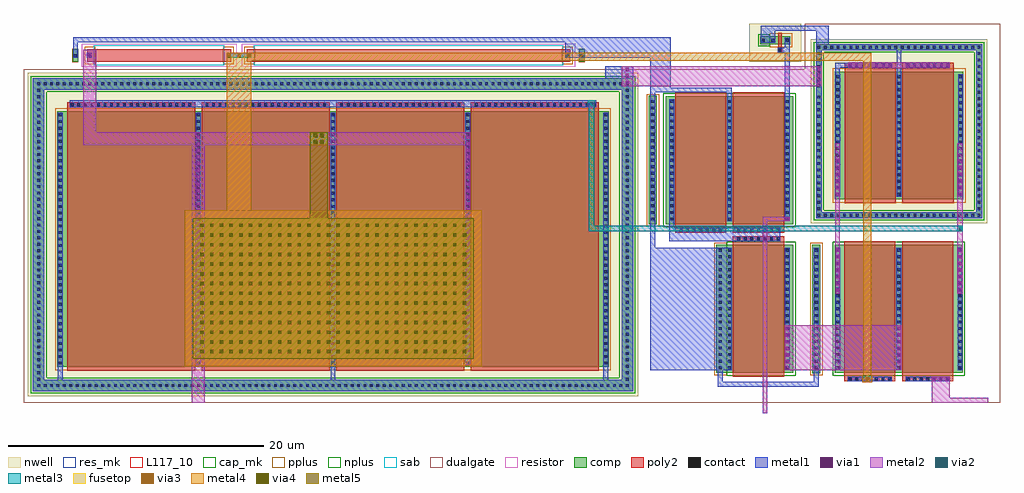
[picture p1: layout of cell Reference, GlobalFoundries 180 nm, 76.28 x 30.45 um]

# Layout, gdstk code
from math import pi, radians
import gdstk
lib = gdstk.Library(unit=1e-6, precision=1e-09)
def R(c, l, rs):  # rectangles x0, y0, x1, y1
    for r in rs: c.add(gdstk.rectangle(r[:2], r[2:], *l))
def A(c, l, x, y, w, h, nx, ny, dx, dy):  # array of equal rectangles
    R(c, l, [(x+i*dx, y+j*dy, x+i*dx+w, y+j*dy+h) for i in range(nx) for j in range(ny)])
def P(c, l, *ps):  # polygons
    for p in ps: c.add(gdstk.Polygon(p, *l))
nwell = (21, 0)
comp = (22, 0)
poly2 = (30, 0)
pplus = (31, 0)
nplus = (32, 0)
contact = (33, 0)
metal1 = (34, 0)
via1 = (35, 0)
metal2 = (36, 0)
via2 = (38, 0)
via3 = (40, 0)
via4 = (41, 0)
metal3 = (42, 0)
metal4 = (46, 0)
sab = (49, 0)
dualgate = (55, 0)
resistor = (62, 0)
fusetop = (75, 0)
metal5 = (81, 0)
res_mk = (110, 5)
cap_mk = (117, 5)
L117_10 = (117, 10)

pfet = lib.new_cell('pfet')
R(pfet, nwell, [(-1.24,-0.91,43.42,21.29)])
R(pfet, comp, [(-0.46,0,42.64,20)])
A(pfet, poly2, 0.31, -0.3, 10, 20.98, 4, 1, 10.52, 0)
R(pfet, pplus, [(-0.63,-0.24,42.81,20.24)])
A(pfet, contact, -0.34, 0.2, 0.22, 0.22, 1, 39, 0, 0.51)
A(pfet, contact, 10.46, 0.2, 0.22, 0.22, 3, 39, 10.52, 0.51)
A(pfet, contact, 42.3, 0.2, 0.22, 0.22, 1, 39, 0, 0.51)
A(pfet, contact, 0.61, 20.38, 0.22, 0.22, 19, 1, 0.51, 0)
A(pfet, contact, 11.13, 20.38, 0.22, 0.22, 19, 1, 0.51, 0)
A(pfet, contact, 21.65, 20.38, 0.22, 0.22, 19, 1, 0.51, 0)
A(pfet, contact, 32.17, 20.38, 0.22, 0.22, 19, 1, 0.51, 0)
A(pfet, metal1, 10.38, 0.12, 0.38, 19.76, 3, 1, 10.52, 0)
A(pfet, metal1, 0.53, 20.3, 9.56, 0.38, 4, 1, 10.52, 0)
R(pfet, metal1, [(-0.42,0.12,-0.04,19.88), (42.22,0.12,42.6,19.88)])
R(pfet, dualgate, [(-1.74,-1.41,43.92,21.79)])

nfet = lib.new_cell('nfet')
R(nfet, comp, [(-0.42,0,9.56,10)])
R(nfet, poly2, [(0.31,-0.66,4.31,10.3), (4.83,-0.66,8.83,10.3)])
R(nfet, nplus, [(-0.59,-0.24,9.73,10.24)])
A(nfet, contact, 0.67, -0.59, 0.22, 0.22, 7, 1, 0.51, 0)
A(nfet, contact, 5.19, -0.59, 0.22, 0.22, 7, 1, 0.51, 0)
A(nfet, contact, -0.32, 0.3, 0.22, 0.22, 3, 19, 4.78, 0.51)
A(nfet, metal1, -0.4, 0.22, 0.38, 9.56, 3, 1, 4.78, 0)
R(nfet, metal1, [(0.59,-0.67,4.03,-0.29), (5.11,-0.67,8.55,-0.29)])
R(nfet, dualgate, [(-0.84,-1.08,9.98,10.71)])

ppolyf_u_high_rs_resisto = lib.new_cell('ppolyf_u_high_Rs_resistor$1')
R(ppolyf_u_high_rs_resisto, comp, [(-1.76,0,-1.34,1)])
R(ppolyf_u_high_rs_resisto, poly2, [(-0.64,0,10.64,1)])
R(ppolyf_u_high_rs_resisto, pplus, [(-0.82,-0.18,0,1.18), (10,-0.18,10.82,1.18), (-1.78,-0.02,-1.32,1.02)])
R(ppolyf_u_high_rs_resisto, contact, [(-1.66,0.39,-1.44,0.61), (-0.57,0.39,-0.35,0.61), (10.35,0.39,10.57,0.61)])
R(ppolyf_u_high_rs_resisto, metal1, [(-1.74,0.31,-1.36,0.69), (-0.65,0.31,-0.27,0.69), (10.27,0.31,10.65,0.69)])
R(ppolyf_u_high_rs_resisto, sab, [(-0.1,-0.28,10.1,1.28)])
R(ppolyf_u_high_rs_resisto, resistor, [(-1.04,-0.4,11.04,1.4)])
R(ppolyf_u_high_rs_resisto, res_mk, [(0,0,10,1)])

c_ppolyf_u_high_rs_resisto = lib.new_cell('ppolyf_u_high_Rs_resistor$2')
R(c_ppolyf_u_high_rs_resisto, comp, [(-1.76,0,-1.34,1)])
R(c_ppolyf_u_high_rs_resisto, poly2, [(-0.64,0,24.64,1)])
R(c_ppolyf_u_high_rs_resisto, pplus, [(-0.82,-0.18,0,1.18), (24,-0.18,24.82,1.18), (-1.78,-0.02,-1.32,1.02)])
R(c_ppolyf_u_high_rs_resisto, contact, [(-1.66,0.39,-1.44,0.61), (-0.57,0.39,-0.35,0.61), (24.35,0.39,24.57,0.61)])
R(c_ppolyf_u_high_rs_resisto, metal1, [(-1.74,0.31,-1.36,0.69), (-0.65,0.31,-0.27,0.69), (24.27,0.31,24.65,0.69)])
R(c_ppolyf_u_high_rs_resisto, sab, [(-0.1,-0.28,24.1,1.28)])
R(c_ppolyf_u_high_rs_resisto, resistor, [(-1.04,-0.4,25.04,1.4)])
R(c_ppolyf_u_high_rs_resisto, res_mk, [(0,0,24,1)])

pfet_2 = lib.new_cell('pfet$2')
R(pfet_2, nwell, [(-1.32,-0.99,2.73,1.97)])
R(pfet_2, comp, [(-0.46,0,1.87,0.6)])
P(pfet_2, poly2, [(0.19,-0.3),(0.19,0.9),(0.15,0.9),(0.15,1.28),(0.53,1.28),(0.53,0.9),(0.49,0.9),(0.49,-0.3)])
R(pfet_2, pplus, [(-0.63,-0.24,1.14,0.84)])
R(pfet_2, nplus, [(1.14,-0.17,2.04,0.77)])
R(pfet_2, contact, [(-0.34,0.19,-0.12,0.41), (0.8,0.19,1.02,0.41), (1.53,0.19,1.75,0.41), (0.23,0.98,0.45,1.2)])
R(pfet_2, metal1, [(-0.42,0.11,-0.04,0.49), (0.72,0.11,1.1,0.49), (1.45,0.11,1.83,0.49), (0.15,0.9,0.53,1.28)])

pfet_1 = lib.new_cell('pfet$1')
R(pfet_1, nwell, [(-1.24,-0.91,10.38,11.29)])
R(pfet_1, comp, [(-0.46,0,9.6,10)])
R(pfet_1, poly2, [(0.31,-0.3,4.31,10.68), (4.83,-0.3,8.83,10.68)])
R(pfet_1, pplus, [(-0.63,-0.24,9.77,10.24)])
A(pfet_1, contact, -0.34, 0.3, 0.22, 0.22, 3, 19, 4.8, 0.51)
A(pfet_1, contact, 0.67, 10.38, 0.22, 0.22, 7, 1, 0.51, 0)
A(pfet_1, contact, 5.19, 10.38, 0.22, 0.22, 7, 1, 0.51, 0)
A(pfet_1, metal1, -0.42, 0.22, 0.38, 9.56, 3, 1, 4.8, 0)
R(pfet_1, metal1, [(0.59,10.3,4.03,10.68), (5.11,10.3,8.55,10.68)])
R(pfet_1, dualgate, [(-1.74,-1.41,10.88,11.79)])

cap_mim = lib.new_cell('cap_mim')
A(cap_mim, via4, 0.61, 0.43, 0.26, 0.26, 28, 14, 0.76, 0.76)
R(cap_mim, metal4, [(-0.6,-0.6,22.6,11.6)])
R(cap_mim, fusetop, [(0,0,22,11)])
R(cap_mim, metal5, [(0,0,22,11)])
R(cap_mim, cap_mk, [(-0.6,-0.6,22.6,11.6)])
R(cap_mim, L117_10, [(0,0,22,0.1)])

reference = lib.new_cell('Reference')
R(reference, nwell, [(0.5,0.5,48.2,25.78), (61.695,14.03,75.475,28.43)])
R(reference, comp, [(61.8,2.31,62.43,12.35), (54.3,2.34,60.33,12.34), (49.03,13.95,49.66,23.99), (50.35,13.96,60.33,23.96)])
P(reference, comp, [(62.1,14.43),(62.1,27.57),(62.56,27.57),(62.56,14.89),(74.62,14.89),(74.62,27.57),(62.1,27.57),(62.1,28.03),(75.08,28.03),(75.08,14.43)],
  [(0.9,0.9),(0.9,24.48),(1.8,24.48),(1.8,1.8),(46.9,1.8),(46.9,24.48),(0.9,24.48),(0.9,25.38),(47.8,25.38),(47.8,0.9)])
R(reference, poly2, [(55.6,2.04,59.6,13), (51.08,13.3,55.08,24.26), (55.6,13.3,59.6,24.26)])
R(reference, pplus, [(54.13,2.17,55.11,12.51), (61.64,2.17,62.62,12.51), (48.87,13.79,49.85,24.13)])
R(reference, nplus, [(55.11,2.1,60.5,12.58), (50.18,13.72,60.5,24.2)])
P(reference, nplus, [(61.94,14.27),(61.94,27.41),(62.72,27.41),(62.72,15.05),(74.46,15.05),(74.46,27.41),(61.94,27.41),(61.94,28.19),(75.24,28.19),(75.24,14.27)],
  [(0.74,0.74),(0.74,24.32),(1.96,24.32),(1.96,1.96),(46.74,1.96),(46.74,24.32),(0.74,24.32),(0.74,25.54),(47.96,25.54),(47.96,0.74)])
A(reference, contact, 1.24, 1.24, 0.22, 0.22, 93, 2, 0.5, 23.58)
A(reference, contact, 1.24, 2.245, 0.22, 0.22, 1, 3, 0, 0.5)
A(reference, contact, 47.24, 2.245, 0.22, 0.22, 1, 3, 0, 0.5)
A(reference, contact, 54.5, 2.64, 0.22, 0.22, 1, 19, 0, 0.51)
A(reference, contact, 55.23, 2.64, 0.22, 0.22, 1, 19, 0, 0.51)
A(reference, contact, 59.75, 2.64, 0.22, 0.22, 1, 19, 0, 0.51)
A(reference, contact, 62.01, 2.64, 0.22, 0.22, 1, 19, 0, 0.51)
A(reference, contact, 1.24, 3.75, 0.22, 0.22, 1, 3, 0, 0.5)
A(reference, contact, 47.24, 3.75, 0.22, 0.22, 1, 3, 0, 0.5)
A(reference, contact, 1.24, 5.255, 0.22, 0.22, 1, 3, 0, 0.5)
A(reference, contact, 47.24, 5.255, 0.22, 0.22, 1, 3, 0, 0.5)
A(reference, contact, 1.24, 6.76, 0.22, 0.22, 1, 3, 0, 0.5)
A(reference, contact, 47.24, 6.76, 0.22, 0.22, 1, 3, 0, 0.5)
A(reference, contact, 1.24, 8.265, 0.22, 0.22, 1, 3, 0, 0.5)
A(reference, contact, 47.24, 8.265, 0.22, 0.22, 1, 3, 0, 0.5)
A(reference, contact, 1.24, 9.77, 0.22, 0.22, 1, 3, 0, 0.5)
A(reference, contact, 47.24, 9.77, 0.22, 0.22, 1, 3, 0, 0.5)
A(reference, contact, 1.24, 11.275, 0.22, 0.22, 1, 3, 0, 0.5)
A(reference, contact, 47.24, 11.275, 0.22, 0.22, 1, 3, 0, 0.5)
A(reference, contact, 55.96, 12.71, 0.22, 0.22, 5, 2, 0.51, 0.66)
A(reference, contact, 51.44, 13.37, 0.22, 0.22, 5, 1, 0.51, 0)
A(reference, contact, 1.24, 13.785, 0.22, 0.22, 1, 3, 0, 0.5)
A(reference, contact, 47.24, 13.785, 0.22, 0.22, 1, 3, 0, 0.5)
A(reference, contact, 49.24, 14.26, 0.22, 0.22, 1, 19, 0, 0.51)
A(reference, contact, 50.71, 14.26, 0.22, 0.22, 3, 19, 4.52, 0.51)
A(reference, contact, 62.215, 14.55, 0.22, 0.22, 4, 2, 0.5, 13.14)
A(reference, contact, 64.22, 14.55, 0.22, 0.22, 6, 2, 0.5, 13.14)
A(reference, contact, 67.225, 14.55, 0.22, 0.22, 6, 2, 0.5, 13.14)
A(reference, contact, 70.23, 14.55, 0.22, 0.22, 6, 2, 0.5, 13.14)
A(reference, contact, 73.235, 14.55, 0.22, 0.22, 4, 2, 0.5, 13.14)
A(reference, contact, 62.215, 15.055, 0.22, 0.22, 1, 6, 0, 0.505)
A(reference, contact, 74.735, 15.055, 0.22, 0.22, 1, 6, 0, 0.505)
A(reference, contact, 1.24, 15.29, 0.22, 0.22, 1, 3, 0, 0.5)
A(reference, contact, 47.24, 15.29, 0.22, 0.22, 1, 3, 0, 0.5)
A(reference, contact, 1.24, 16.795, 0.22, 0.22, 1, 3, 0, 0.5)
A(reference, contact, 47.24, 16.795, 0.22, 0.22, 1, 3, 0, 0.5)
A(reference, contact, 62.215, 18.09, 0.22, 0.22, 1, 8, 0, 0.505)
A(reference, contact, 74.735, 18.09, 0.22, 0.22, 1, 13, 0, 0.505)
A(reference, contact, 1.24, 18.3, 0.22, 0.22, 1, 3, 0, 0.5)
A(reference, contact, 47.24, 18.3, 0.22, 0.22, 1, 3, 0, 0.5)
A(reference, contact, 1.24, 19.805, 0.22, 0.22, 1, 3, 0, 0.5)
A(reference, contact, 47.24, 19.805, 0.22, 0.22, 1, 3, 0, 0.5)
A(reference, contact, 1.24, 21.31, 0.22, 0.22, 1, 3, 0, 0.5)
A(reference, contact, 47.24, 21.31, 0.22, 0.22, 1, 3, 0, 0.5)
A(reference, contact, 62.215, 22.28, 0.22, 0.22, 1, 4, 0, 0.505)
A(reference, contact, 1.24, 22.815, 0.22, 0.22, 1, 3, 0, 0.5)
A(reference, contact, 47.24, 22.815, 0.22, 0.22, 1, 3, 0, 0.5)
A(reference, contact, 62.215, 24.66, 0.22, 0.22, 1, 6, 0, 0.505)
A(reference, contact, 74.735, 24.66, 0.22, 0.22, 1, 6, 0, 0.505)
R(reference, contact, [(1.24,1.74,1.46,1.96), (47.24,1.74,47.46,1.96), (58,12.71,58.22,12.93), (58.51,12.71,58.73,12.93), (58.51,12.71,58.73,12.93), (59.02,12.71,59.24,12.93), (59.02,12.71,59.24,12.93), (1.24,12.78,1.46,13), (47.24,12.78,47.46,13), (1.24,13.28,1.46,13.5), (47.24,13.28,47.46,13.5), (53.48,13.37,53.7,13.59), (53.99,13.37,54.21,13.59), (53.99,13.37,54.21,13.59), (54.5,13.37,54.72,13.59), (54.5,13.37,54.72,13.59), (58,13.37,58.22,13.59), (58.51,13.37,58.73,13.59), (58.51,13.37,58.73,13.59), (59.02,13.37,59.24,13.59), (59.02,13.37,59.24,13.59), (1.24,24.32,1.46,24.54), (47.24,24.32,47.46,24.54)])
A(reference, metal1, 2.84, 0.9, 0.38, 3.02, 3, 1, 21.32, 0)
A(reference, metal1, 50.63, 14.18, 0.38, 9.56, 3, 1, 4.52, 0)
R(reference, metal1, [(54.42,1.26,54.8,2.56), (54.42,1.26,62.31,1.64), (61.93,1.26,62.31,2.56), (49.16,2.56,55.53,12.12), (54.42,2.56,54.8,12.12), (54.8,2.56,55.15,12.12), (55.15,2.56,55.53,12.12), (59.67,2.56,60.05,12.12), (61.93,2.56,62.31,12.12), (49.16,12.12,49.54,14.18), (50.63,12.63,51.36,13.67), (50.63,12.63,51.01,14.18), (51.36,12.63,55.88,13.29), (55.88,12.63,59.32,13.01), (55.88,13.01,59.32,13.29), (51.36,13.29,54.8,13.67), (54.8,13.29,55.88,13.67), (55.88,13.29,59.32,13.67), (49.16,14.18,49.54,23.74), (3.79,23.1,44.91,23.64), (49.16,23.74,49.54,24.64), (55.15,23.74,55.53,24.64), (59.67,23.74,60.05,28.53), (49.16,24.26,55.53,24.64), (45.61,24.48,47.8,26.31), (49.16,24.64,50.76,28.56), (68.4,24.67,68.78,28.03), (63.595,25.67,63.975,26.57), (63.595,26.19,64.615,26.57), (4.03,26.96,4.41,28.56), (16.04,26.96,17.98,27.34), (42.52,26.96,43.99,28.56), (43.99,26.96,50.76,28.56), (59.1,27.36,60.05,27.74), (62.1,28.03,63.1,29.08), (57.8,28.15,58.91,29.46), (4.03,28.18,43.99,28.56), (58.91,29.08,63.1,29.46)])
P(reference, metal1, [(62.1,14.43),(62.1,27.57),(62.56,27.57),(62.56,14.89),(74.62,14.89),(74.62,27.57),(62.1,27.57),(62.1,28.03),(75.08,28.03),(75.08,14.43)],
  [(0.9,0.9),(0.9,24.48),(1.8,24.48),(1.8,1.8),(46.9,1.8),(46.9,24.48),(0.9,24.48),(0.9,25.38),(47.8,25.38),(47.8,0.9)])
A(reference, via1, 71.2, 1.73, 0.26, 0.26, 3, 1, 0.52, 0)
A(reference, via1, 59.73, 3.08, 0.26, 0.26, 1, 6, 0, 0.52)
A(reference, via1, 68.44, 3.08, 0.26, 0.26, 1, 6, 0, 0.52)
A(reference, via1, 13.7, 3.47, 0.26, 0.26, 1, 34, 0, 0.52)
A(reference, via1, 34.74, 3.47, 0.26, 0.26, 1, 34, 0, 0.52)
A(reference, via1, 63.66, 8.68, 0.26, 0.26, 1, 7, 0, 0.52)
A(reference, via1, 73.22, 8.68, 0.26, 0.26, 1, 7, 0, 0.52)
A(reference, via1, 73.26, 16.17, 0.26, 0.26, 1, 6, 0, 0.52)
A(reference, via1, 47.22, 24.88, 0.26, 0.26, 1, 3, 0, 0.52)
A(reference, via1, 62.19, 24.88, 0.26, 0.26, 1, 3, 0, 0.52)
A(reference, via1, 64.635, 26.25, 0.26, 0.26, 7, 1, 0.52, 0)
A(reference, via1, 69.155, 26.25, 0.26, 0.26, 7, 1, 0.52, 0)
R(reference, via1, [(65.985,1.73,66.245,1.99), (59.73,14.24,59.99,14.5), (63.66,16.17,63.92,16.43), (63.66,16.17,63.92,16.43), (63.66,16.69,63.92,16.95), (63.66,16.69,63.92,16.95), (63.66,17.21,63.92,17.47), (63.66,17.21,63.92,17.47), (63.66,17.73,63.92,17.99), (63.66,17.73,63.92,17.99), (63.66,18.25,63.92,18.51), (63.66,18.25,63.92,18.51), (63.66,18.77,63.92,19.03), (63.66,18.77,63.92,19.03), (44.41,23.24,44.67,23.5), (5.18,27.02,5.44,27.28), (16.1,27.02,16.36,27.28), (16.89,27.02,17.15,27.28), (17.66,27.02,17.92,27.28)])
R(reference, metal2, [(57.92,-0.82,58.3,14.56), (13.33,0,14.33,1.44), (71.15,0,72.55,2.05), (71.15,0,75.55,0.38), (13.33,0.94,14.33,21.14), (65.715,1.61,66.515,2.11), (59.67,2.55,68.76,6.08), (13.64,2.92,14.02,21.14), (34.68,2.92,35.06,21.14), (63.595,8.53,63.975,20.29), (73.155,8.53,73.575,20.29), (57.92,14.18,60.05,14.56), (4.83,20.14,5.83,27.58), (4.83,20.14,35.06,21.14), (13.33,20.14,35.06,21.14), (13.64,20.14,35.06,21.14), (44.27,23.1,44.81,23.64), (46.9,24.73,62.56,26.31), (64.605,26.13,72.565,26.63), (16.04,26.96,17.98,27.34)])
R(reference, via2, [(65.985,1.73,66.245,1.99), (73.24,13.48,73.5,13.74), (22.85,20.25,23.11,20.51), (23.37,20.25,23.63,20.51), (22.85,20.77,23.11,21.03), (23.37,20.77,23.63,21.03), (44.41,23.24,44.67,23.5), (16.1,27.02,16.36,27.28), (16.89,27.02,17.15,27.28), (17.66,27.02,17.92,27.28)])
R(reference, via3, [(65.985,1.73,66.245,1.99), (22.85,20.25,23.11,20.51), (23.37,20.25,23.63,20.51), (22.85,20.77,23.11,21.03), (23.37,20.77,23.63,21.03), (16.1,27.02,16.36,27.28), (16.89,27.02,17.15,27.28), (17.66,27.02,17.92,27.28)])
R(reference, via4, [(22.85,20.25,23.11,20.51), (23.37,20.25,23.63,20.51), (22.85,20.77,23.11,21.03), (23.37,20.77,23.63,21.03)])
R(reference, metal3, [(65.715,1.61,66.515,2.11), (44.33,13.4,73.575,13.82), (44.33,13.4,44.75,23.64), (22.54,20.14,23.94,21.14), (44.27,23.1,44.81,23.64), (16.04,26.96,17.98,27.34)])
R(reference, metal4, [(65.715,1.61,66.515,2.11), (65.81,1.61,66.41,27.34), (16.04,14.12,17.98,27.34), (22.54,20.14,23.94,21.14), (16.04,26.74,66.41,27.34)])
R(reference, dualgate, [(0.2,0,76.48,26.08), (61.21,0,76.48,29.62), (49.45,1.68,60.96,24.53)])
R(reference, metal5, [(22.54,13.44,23.94,21.14), (22.54,20.14,23.94,21.14)])
reference.add(gdstk.Reference(pfet, (3.26,2.8)))
reference.add(gdstk.Reference(nfet, (64,2.34)))
r = gdstk.Reference(ppolyf_u_high_rs_resisto, (5.77,26.65)); r.repetition = gdstk.Repetition(1, 1, v1=(0,0), v2=(0,0)); reference.add(r)
r = gdstk.Reference(c_ppolyf_u_high_rs_resisto, (42.25,27.65), rotation=pi); r.repetition = gdstk.Repetition(1, 1, v1=(0,0), v2=(0,0)); reference.add(r)
r = gdstk.Reference(pfet_2, (59.63,28.64), rotation=pi); r.repetition = gdstk.Repetition(1, 1, v1=(0,0), v2=(0,0)); reference.add(r)
reference.add(gdstk.Reference(pfet_1, (64.02,15.89)))
r = gdstk.Reference(cap_mim, (13.37,3.44)); r.repetition = gdstk.Repetition(1, 1, v1=(0,0), v2=(0,0)); reference.add(r)

lib.write_gds('Reference.gds')
